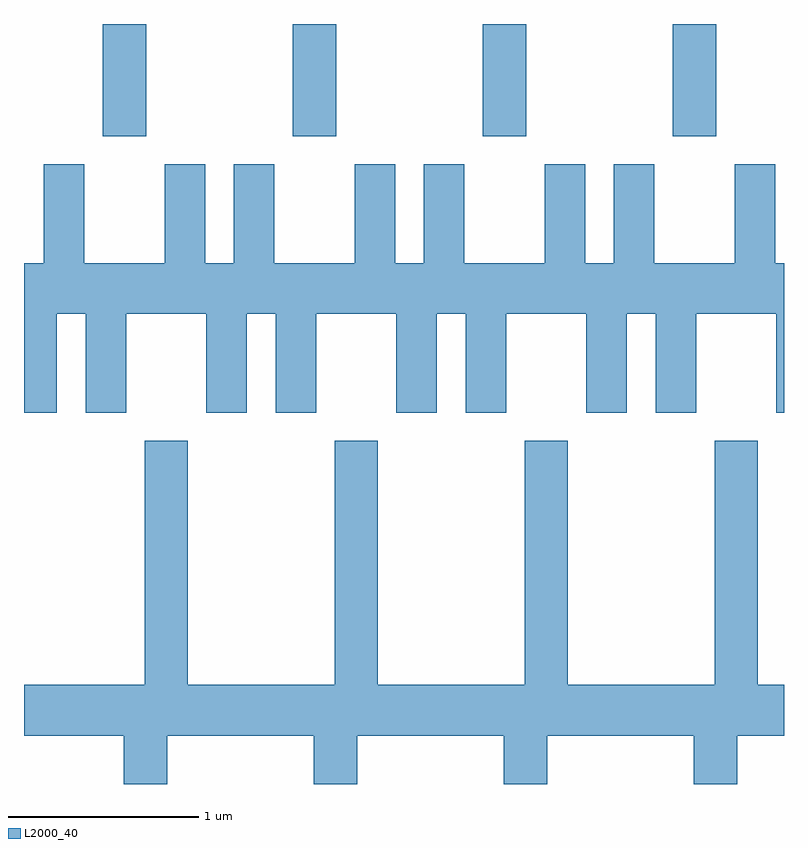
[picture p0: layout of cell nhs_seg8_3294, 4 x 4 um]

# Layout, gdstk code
import gdstk
lib = gdstk.Library(unit=1e-6, precision=1e-09)
def R(c, l, rs):  # rectangles x0, y0, x1, y1
    for r in rs: c.add(gdstk.rectangle(r[:2], r[2:], *l))
def A(c, l, x, y, w, h, nx, ny, dx, dy):  # array of equal rectangles
    R(c, l, [(x+i*dx, y+j*dy, x+i*dx+w, y+j*dy+h) for i in range(nx) for j in range(ny)])
def P(c, l, *ps):  # polygons
    for p in ps: c.add(gdstk.Polygon(p, *l))
L2000_40 = (2000, 40)

nhs_seg8_3294 = lib.new_cell('nhs_seg8_3294')
A(nhs_seg8_3294, L2000_40, 284.026, 1881.751, 0.228, 0.591, 4, 1, 1, 0)
P(nhs_seg8_3294, L2000_40, [(286.571,1880.296),(286.784,1880.296),(286.784,1880.816),(286.936,1880.816),(286.936,1880.296),(287.149,1880.296),(287.149,1880.816),(287.571,1880.816),(287.571,1880.296),(287.611,1880.296),(287.611,1881.084),(287.564,1881.084),(287.564,1881.604),(287.351,1881.604),(287.351,1881.084),(286.929,1881.084),(286.929,1881.604),(286.716,1881.604),(286.716,1881.084),(286.564,1881.084),(286.564,1881.604),(286.351,1881.604),(286.351,1881.084),(285.929,1881.084),(285.929,1881.604),(285.716,1881.604),(285.716,1881.084),(285.564,1881.084),(285.564,1881.604),(285.351,1881.604),(285.351,1881.084),(284.929,1881.084),(284.929,1881.604),(284.716,1881.604),(284.716,1881.084),(284.564,1881.084),(284.564,1881.604),(284.351,1881.604),(284.351,1881.084),(283.929,1881.084),(283.929,1881.604),(283.716,1881.604),(283.716,1881.084),(283.611,1881.084),(283.611,1880.296),(283.784,1880.296),(283.784,1880.816),(283.936,1880.816),(283.936,1880.296),(284.149,1880.296),(284.149,1880.816),(284.571,1880.816),(284.571,1880.296),(284.784,1880.296),(284.784,1880.816),(284.936,1880.816),(284.936,1880.296),(285.149,1880.296),(285.149,1880.816),(285.571,1880.816),(285.571,1880.296),(285.784,1880.296),(285.784,1880.816),(285.936,1880.816),(285.936,1880.296),(286.149,1880.296),(286.149,1880.816),(286.571,1880.816)],
  [(284.364,1878.596),(285.136,1878.596),(285.136,1878.342),(285.364,1878.342),(285.364,1878.596),(286.136,1878.596),(286.136,1878.342),(286.364,1878.342),(286.364,1878.596),(287.136,1878.596),(287.136,1878.342),(287.364,1878.342),(287.364,1878.596),(287.611,1878.596),(287.611,1878.864),(287.474,1878.864),(287.474,1880.149),(287.246,1880.149),(287.246,1878.864),(286.474,1878.864),(286.474,1880.149),(286.246,1880.149),(286.246,1878.864),(285.474,1878.864),(285.474,1880.149),(285.246,1880.149),(285.246,1878.864),(284.474,1878.864),(284.474,1880.149),(284.246,1880.149),(284.246,1878.864),(283.611,1878.864),(283.611,1878.596),(284.136,1878.596),(284.136,1878.342),(284.364,1878.342)])

lib.write_gds('nhs_seg8_3294.gds')
